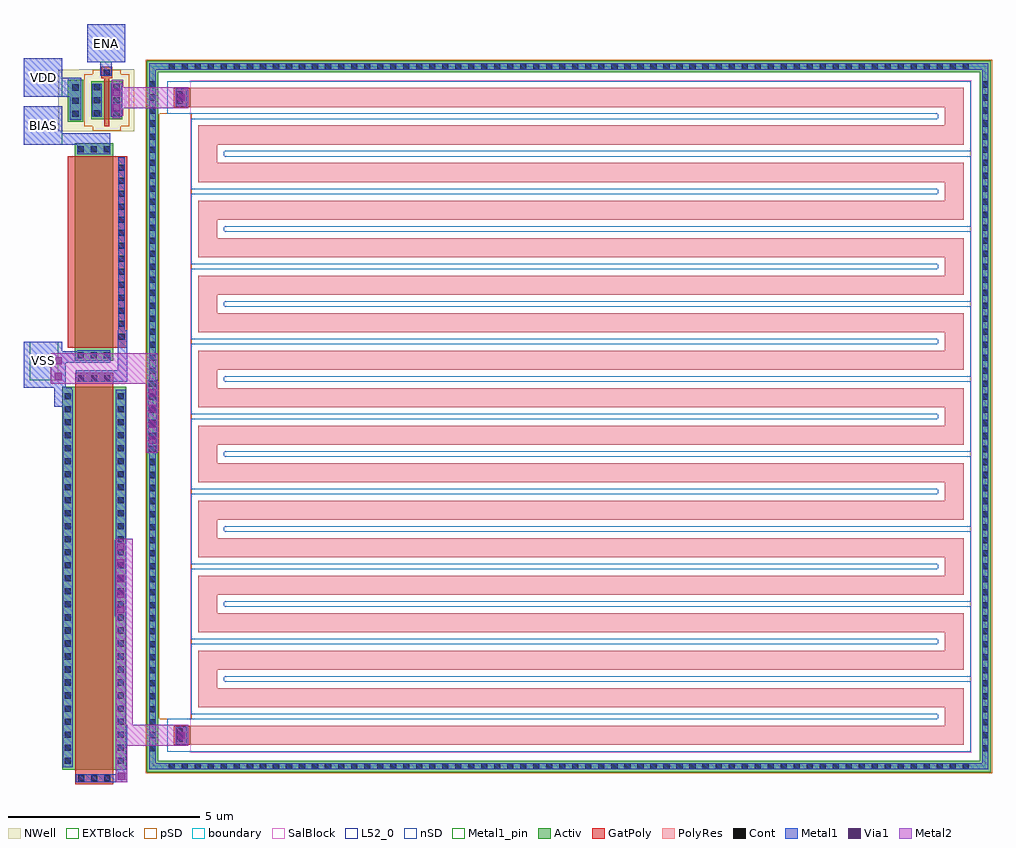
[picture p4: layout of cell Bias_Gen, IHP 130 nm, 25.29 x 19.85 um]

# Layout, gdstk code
from math import pi, radians
import gdstk
lib = gdstk.Library(unit=1e-6, precision=1e-09)
def R(c, l, rs):  # rectangles x0, y0, x1, y1
    for r in rs: c.add(gdstk.rectangle(r[:2], r[2:], *l))
def A(c, l, x, y, w, h, nx, ny, dx, dy):  # array of equal rectangles
    R(c, l, [(x+i*dx, y+j*dy, x+i*dx+w, y+j*dy+h) for i in range(nx) for j in range(ny)])
Activ = (1, 0)
GatPoly = (5, 0)
Cont = (6, 0)
nSD = (7, 0)
Metal1 = (8, 0)
Metal1_pin = (8, 2)
Metal2 = (10, 0)
pSD = (14, 0)
Via1 = (19, 0)
SalBlock = (28, 0)
NWell = (31, 0)
L52_0 = (52, 0)
EXTBlock = (111, 0)
PolyRes = (128, 0)
boundary = (189, 4)

rhigh_knjkln = lib.new_cell('rhigh_KNJKLN')
R(rhigh_knjkln, Activ, [(-9.29,-11.025,9.29,-10.725), (-9.29,-10.725,-8.99,10.725), (8.99,-10.725,9.29,10.725), (-9.29,10.725,9.29,11.025)])
R(rhigh_knjkln, GatPoly, [(-8.58,-10.315,-8.08,-9.885), (8.08,-10.315,8.58,-9.885)])
A(rhigh_knjkln, Cont, -8.75, -10.955, 0.16, 0.16, 52, 2, 0.34, 21.75)
A(rhigh_knjkln, Cont, -9.22, -10.45, 0.16, 0.16, 1, 62, 0, 0.34)
A(rhigh_knjkln, Cont, 9.06, -10.45, 0.16, 0.16, 1, 62, 0, 0.34)
R(rhigh_knjkln, Cont, [(-8.51,-10.245,-8.15,-10.085), (8.15,-10.245,8.51,-10.085)])
A(rhigh_knjkln, nSD, -7.78, -9.865, 1.84, 0.86, 8, 1, 1.96, 0)
A(rhigh_knjkln, nSD, -7.78, -9.005, 0.86, 18.64, 16, 1, 0.98, 0)
A(rhigh_knjkln, nSD, -8.76, 9.635, 1.84, 0.86, 9, 1, 1.96, 0)
R(rhigh_knjkln, nSD, [(-8.76,-10.495,-7.9,9.635), (7.9,-10.495,8.76,9.635)])
R(rhigh_knjkln, Metal1, [(-0.955,-10.98,0.955,-10.955), (-9.22,-10.955,9.22,-10.795), (-9.22,-10.795,-9.06,10.795), (-0.955,-10.795,0.955,-10.77), (9.06,-10.795,9.22,10.795), (-8.56,-10.27,-8.1,-9.98), (8.1,-10.27,8.56,-9.98), (-9.22,10.795,9.22,10.955)])
R(rhigh_knjkln, Metal2, [(-0.905,-11.02,0.905,-10.73), (-8.51,-10.31,-8.15,-9.94), (8.15,-10.31,8.51,-9.94)])
R(rhigh_knjkln, pSD, [(-9.32,-11.055,9.32,-10.695), (-9.32,-10.695,-7.9,-9.865), (7.9,-10.695,9.32,-9.865), (-9.32,-9.865,9.32,11.055)])
A(rhigh_knjkln, Via1, -0.71, -10.97, 0.19, 0.19, 4, 1, 0.41, 0)
R(rhigh_knjkln, Via1, [(-8.425,-10.22,-8.235,-10.03), (8.235,-10.22,8.425,-10.03)])
R(rhigh_knjkln, SalBlock, [(-8.78,-9.885,8.78,10.515)])
A(rhigh_knjkln, L52_0, -7.6, -9.685, 1.48, 0.5, 8, 1, 1.96, 0)
A(rhigh_knjkln, L52_0, -7.6, -9.185, 0.5, 19, 16, 1, 0.98, 0)
A(rhigh_knjkln, L52_0, -8.58, 9.815, 1.48, 0.5, 9, 1, 1.96, 0)
R(rhigh_knjkln, L52_0, [(-8.58,-9.885,-8.08,9.815), (8.08,-9.885,8.58,9.815)])
R(rhigh_knjkln, EXTBlock, [(-8.76,-10.495,-7.9,-9.865), (7.9,-10.495,8.76,-9.865), (-8.76,-9.865,8.76,10.495)])
A(rhigh_knjkln, PolyRes, -7.6, -9.685, 1.48, 0.5, 8, 1, 1.96, 0)
A(rhigh_knjkln, PolyRes, -7.6, -9.185, 0.5, 19, 16, 1, 0.98, 0)
A(rhigh_knjkln, PolyRes, -8.58, 9.815, 1.48, 0.5, 9, 1, 1.96, 0)
R(rhigh_knjkln, PolyRes, [(-8.58,-9.885,-8.08,9.815), (8.08,-9.885,8.58,9.815)])
R(rhigh_knjkln, boundary, [(-9.14,-10.875,9.14,10.875)])
rhigh_knjkln.add(gdstk.Label('B', (0,-10.875), layer=8, texttype=25))
rhigh_knjkln.add(gdstk.Label('R1', (-8.33,-10.165), layer=8, texttype=25))
rhigh_knjkln.add(gdstk.Label('R2', (8.33,-10.165), layer=8, texttype=25))

sg13_lv_nmos_tvr6vh = lib.new_cell('sg13_lv_nmos_TVR6VH')
R(sg13_lv_nmos_tvr6vh, Activ, [(-2.84,-0.595,2.84,0.405)])
R(sg13_lv_nmos_tvr6vh, GatPoly, [(-2.5,-0.775,2.5,0.775)])
A(sg13_lv_nmos_tvr6vh, Cont, -2.77, -0.515, 0.16, 0.16, 1, 3, 0, 0.34)
A(sg13_lv_nmos_tvr6vh, Cont, 2.61, -0.515, 0.16, 0.16, 1, 3, 0, 0.34)
A(sg13_lv_nmos_tvr6vh, Cont, -2.29, 0.545, 0.16, 0.16, 14, 1, 0.34, 0)
R(sg13_lv_nmos_tvr6vh, Metal1, [(-2.82,-0.525,-2.56,0.335), (2.56,-0.525,2.82,0.335), (-2.48,0.545,2.48,0.705)])
sg13_lv_nmos_tvr6vh.add(gdstk.Label('D', (-2.69,-0.095), layer=8, texttype=25))
sg13_lv_nmos_tvr6vh.add(gdstk.Label('S', (2.69,-0.095), layer=8, texttype=25))
sg13_lv_nmos_tvr6vh.add(gdstk.Label('G', (0,0.625), layer=8, texttype=25))

sg13_lv_pmos_lrf4c6 = lib.new_cell('sg13_lv_pmos_LRF4C6')
R(sg13_lv_pmos_lrf4c6, Activ, [(-0.405,-0.595,0.405,0.405)])
R(sg13_lv_pmos_lrf4c6, GatPoly, [(-0.065,-0.775,0.065,0.475), (-0.15,0.475,0.15,0.775)])
A(sg13_lv_pmos_lrf4c6, Cont, -0.335, -0.515, 0.16, 0.16, 1, 3, 0, 0.34)
A(sg13_lv_pmos_lrf4c6, Cont, 0.175, -0.515, 0.16, 0.16, 1, 3, 0, 0.34)
R(sg13_lv_pmos_lrf4c6, Cont, [(-0.08,0.545,0.08,0.705)])
R(sg13_lv_pmos_lrf4c6, Metal1, [(-0.405,-0.525,-0.105,0.335), (0.125,-0.525,0.385,0.335), (-0.13,0.545,0.13,0.705)])
R(sg13_lv_pmos_lrf4c6, Metal2, [(-0.355,-0.565,-0.155,0.375)])
R(sg13_lv_pmos_lrf4c6, pSD, [(-0.365,-0.895,0.365,-0.775), (-0.585,-0.775,0.585,0.585), (-0.365,0.585,0.365,0.705)])
R(sg13_lv_pmos_lrf4c6, Via1, [(-0.35,-0.395,-0.16,-0.205), (-0.35,0.015,-0.16,0.205)])
R(sg13_lv_pmos_lrf4c6, NWell, [(-0.715,-0.905,0.715,0.715)])
sg13_lv_pmos_lrf4c6.add(gdstk.Label('D', (-0.255,-0.095), layer=8, texttype=25))
sg13_lv_pmos_lrf4c6.add(gdstk.Label('S', (0.255,-0.095), layer=8, texttype=25))
sg13_lv_pmos_lrf4c6.add(gdstk.Label('G', (0,0.625), layer=8, texttype=25))

sg13_lv_nmos_w4kbkf = lib.new_cell('sg13_lv_nmos_W4KBKF')
R(sg13_lv_nmos_w4kbkf, Activ, [(-0.84,-5,0.84,5)])
R(sg13_lv_nmos_w4kbkf, GatPoly, [(-0.5,-5.37,0.5,5.37)])
A(sg13_lv_nmos_w4kbkf, Cont, -0.42, -5.3, 0.16, 0.16, 3, 2, 0.34, 10.44)
A(sg13_lv_nmos_w4kbkf, Cont, -0.77, -4.84, 0.16, 0.16, 1, 29, 0, 0.34)
A(sg13_lv_nmos_w4kbkf, Cont, 0.61, -4.84, 0.16, 0.16, 1, 29, 0, 0.34)
R(sg13_lv_nmos_w4kbkf, Metal1, [(-0.48,-5.3,0.48,-5.14), (-0.82,-4.93,-0.56,-0.99), (0.56,-4.93,0.82,4.93), (-0.84,-0.99,-0.54,0.99), (-0.82,0.99,-0.56,4.93), (-0.48,5.14,0.48,5.3)])
R(sg13_lv_nmos_w4kbkf, Metal2, [(-0.79,-1.03,-0.59,1.03)])
A(sg13_lv_nmos_w4kbkf, Via1, -0.785, -0.915, 0.19, 0.19, 1, 5, 0, 0.41)
sg13_lv_nmos_w4kbkf.add(gdstk.Label('D', (-0.69,0), layer=8, texttype=25))
sg13_lv_nmos_w4kbkf.add(gdstk.Label('S', (0.69,0), layer=8, texttype=25))
sg13_lv_nmos_w4kbkf.add(gdstk.Label('G', (0,5.22), layer=8, texttype=25))

bias_gen = lib.new_cell('Bias_Gen')
R(bias_gen, Activ, [(6.3,16.35,6.7,17.45)])
A(bias_gen, Cont, 6.42, 16.48, 0.16, 0.16, 1, 3, 0, 0.34)
R(bias_gen, Metal1, [(6.5,-0.9,7.85,-0.7), (7.55,-0.7,7.85,-0.4), (7.7,-0.4,7.85,0.6), (5.95,8.9,6.2,9.1), (5.95,9.1,6.4,9.4), (5.15,9.4,6.25,10.05), (6.5,9.55,7.85,9.85), (7.6,9.85,7.85,10.9), (5.15,10.05,7.4,10.35), (5.15,10.35,6.15,10.6), (5.15,15.75,7.4,16.05), (5.15,16.05,6.15,16.75), (6.35,16.4,6.65,17), (5.15,17,6.65,17.5), (5.15,17.5,6.15,18), (7.15,17.55,7.45,17.9), (6.8,17.9,7.8,18.9)])
R(bias_gen, Metal1_pin, [(5.3,9.6,6.05,10.6), (5.15,15.75,6.15,16.75), (5.15,17,6.15,18), (6.8,17.9,7.8,18.9)])
R(bias_gen, Metal2, [(7.55,-0.9,7.85,0.05), (7.55,0.05,9.45,0.6), (7.55,0.6,8,5.45), (8.35,7.7,8.65,9.5), (5.85,9.5,8.65,10.3), (7.45,16.5,7.75,16.7), (7.45,16.7,9.45,17.25), (7.45,17.25,7.75,17.45)])
R(bias_gen, Via1, [(7.605,-0.845,7.795,-0.655), (5.955,9.6,6.145,9.79), (5.955,10.01,6.145,10.2)])
R(bias_gen, NWell, [(6.05,16.1,6.8,16.35), (6.05,16.35,6.7,17.45), (6.05,17.45,6.8,17.7)])
bias_gen.add(gdstk.Reference(rhigh_knjkln, (19.385,8.65), rotation=3*pi/2))
bias_gen.add(gdstk.Reference(sg13_lv_nmos_tvr6vh, (7.075,12.94), rotation=3*pi/2))
bias_gen.add(gdstk.Reference(sg13_lv_pmos_lrf4c6, (7.315,17.005), rotation=pi, x_reflection=True))
bias_gen.add(gdstk.Reference(sg13_lv_nmos_w4kbkf, (6.99,4.42), rotation=pi, x_reflection=True))
bias_gen.add(gdstk.Label('BIAS', (5.65,16.25), layer=8, texttype=25))
bias_gen.add(gdstk.Label('VDD', (5.65,17.5), layer=8, texttype=25))
bias_gen.add(gdstk.Label('VSS', (5.675,10.1), layer=8, texttype=25))
bias_gen.add(gdstk.Label('ENA', (7.3,18.4), layer=8, texttype=25))

lib.write_gds('Bias_Gen.gds')
